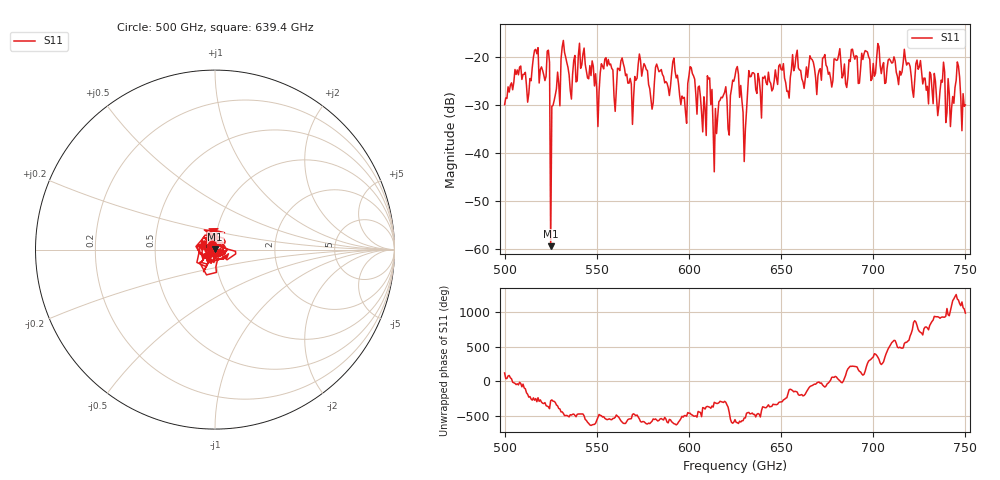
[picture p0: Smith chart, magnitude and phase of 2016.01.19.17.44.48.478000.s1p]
!Created with skrf (http://scikit-rf.org).
# GHz S RI R 50.0
!freq ReS11 ImS11
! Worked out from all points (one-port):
!   401 points, 500 GHz to 750 GHz, reference 50 ohm
!   lowest |S11| = -59.3 dB at 525 GHz (marker M1), VSWR 1.00, Z = 50 + j0.105 ohm
!   |S11| at or under -10 dB: start of sweep to end of sweep
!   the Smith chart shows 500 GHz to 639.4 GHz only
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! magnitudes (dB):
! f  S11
! 500 GHz  -29.9
! 507.5 GHz  -23.7
! 513.1 GHz  -27.6
! 516.9 GHz  -18.4
! 523.1 GHz  -18.8
! 525 GHz  -59.3
! 526.2 GHz  -30.1
! 531.2 GHz  -17.9
! 541.9 GHz  -21.7
! 550 GHz  -26.8
! 562.5 GHz  -22.8
! 568.8 GHz  -25.6
! 573.8 GHz  -20.7
! 579.4 GHz  -28.8
! 583.1 GHz  -22.2
! 593.8 GHz  -23.8
! 597.5 GHz  -28.4
! 601.9 GHz  -23.5
! 608.1 GHz  -28.3
! 611.2 GHz  -24.4
! 614.4 GHz  -30.7
! 625 GHz  -24.0
! 630 GHz  -41.7
! 633.8 GHz  -24.1
! 656.2 GHz  -19.5
! 687.5 GHz  -20.9
! 718.8 GHz  -21.2
! 750 GHz  -30.0
